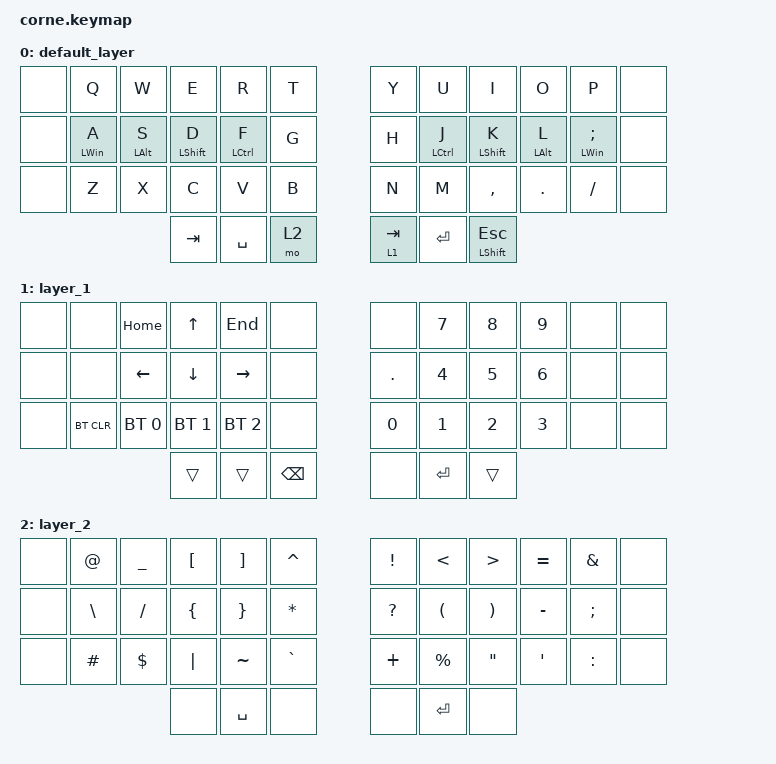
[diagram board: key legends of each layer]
/*
 * Copyright (c) 2020 The ZMK Contributors
 *
 * SPDX-License-Identifier: MIT
 */

#include <behaviors.dtsi>
#include <dt-bindings/zmk/keys.h>
#include <dt-bindings/zmk/bt.h>

&mt {
    tapping-term-ms = <500>;
};
/ {
        keymap {
                compatible = "zmk,keymap";

                default_layer {
// -----------------------------------------------------------------------------------------
// |  Q  |  W  |  E  |  R  |  T  |   |  Y  |  U   |  I  |  O  |  P  |
// |  A  |  S  |  D  |  F  |  G  |   |  H  |  J   |  K  |  L  |  ;  | HOME ROW MODS ENABLED >> SUPER, ALT, SHIFT, CTRL from outside to insdie
// |  Z  |  X  |  C  |  V  |  B  |   |  N  |  M   |  ,  |  .  |  /  |
//               | TAB | SPC | L2 |   | L1  | ENT  | SHIFT |
                        bindings = <
   &none &kp Q &kp W &kp E &kp R &kp T   &kp Y &kp U  &kp I     &kp O   &kp P &none
   &none &mt LWIN A &mt LALT S &mt LSHIFT D &mt LCTRL F &kp G   &kp H &mt LCTRL J  &mt LSHIFT K &mt LALT L   &mt LWIN SEMI &none
   &none &kp Z &kp X &kp C &kp V &kp B   &kp N &kp M  &kp COMMA &kp DOT &kp FSLH &none
                  &kp TAB &kp SPACE &mo 2   &lt 1 TAB &kp RET &mt LSHIFT ESC
                        >;
                };
                layer_1 { // l1, numpad and nav
// -----------------------------------------------------------------------------------------
// |     | HME | UP  | END |     |   |     |  7  |  8  |  9  |     |
// |     | LFT | DWN | RGT |     |   |  .  |  4  |  5  |  6  |     |
// |BTCLR| BT1 | BT2 | BT3 |     |   |  0  |  1  |  2  |  3  |     |
//                   | SUPER |  SPC   | BSPC | |   | ENT |  SHIFT   |
                        bindings = <
   &none &none   &kp HOME  &kp UP    &kp END      &none     &none    &kp N7  &kp N8 &kp N9  &none &none
   &none &none   &kp LEFT  &kp DOWN  &kp RIGHT    &none     &kp DOT  &kp N4  &kp N5 &kp N6  &none &none
   &none &bt BT_CLR &bt BT_SEL 0  &bt BT_SEL 1  &bt BT_SEL 2 &none     &kp N0   &kp N1  &kp N2 &kp N3  &none &none
                           &trans &trans &kp BSPC         &none &kp RET &trans
                        >;
                };

                layer_2 { // l2, programming symbols
// -----------------------------------------------------------------------------------------
// |  @  |  _  |  [  |  ]  |  ^  |   |  !  |  <  |  >  |  =  |  &  |
// |  \  |  /  |  {  |  }  |  *  |   |  ?  |  (  |  )  |  -  |  ;  |
// |  #  |  $  | '|' |  ~  |  `  |   |  +  |  %  |  "  |  '  |  :  |
//                    |  |     |  |   |  |     |  |
                        bindings = <
  &none &kp AT    &kp UNDER &kp LBKT  &kp RBKT  &kp CARET   &kp EXCLAMATION  &kp LT    &kp GT   &kp EQUAL  &kp AMPS &none
  &none &kp BSLH  &kp FSLH  &kp LBRC  &kp RBRC  &kp ASTRK   &kp QMARK        &kp LPAR  &kp RPAR &kp MINUS  &kp SEMI &none
  &none &kp HASH  &kp DLLR  &kp PIPE  &kp TILDE &kp GRAVE   &kp PLUS         &kp PRCNT &kp DQT  &kp SQT    &kp COLON &none
                             &none &kp SPACE &none   &none   &kp RET    &none
                        >;
                };
        };
};

